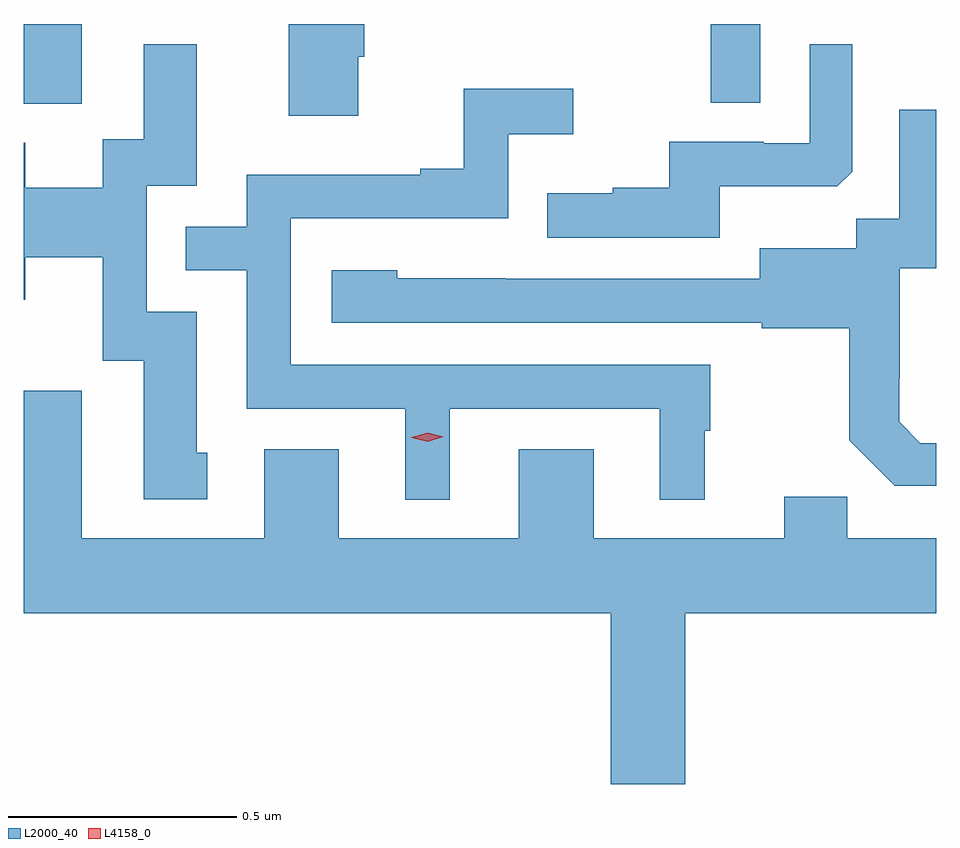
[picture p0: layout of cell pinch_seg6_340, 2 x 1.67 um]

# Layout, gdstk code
import gdstk
lib = gdstk.Library(unit=1e-6, precision=1e-09)
def R(c, l, rs):  # rectangles x0, y0, x1, y1
    for r in rs: c.add(gdstk.rectangle(r[:2], r[2:], *l))
def P(c, l, *ps):  # polygons
    for p in ps: c.add(gdstk.Polygon(p, *l))
L2000_40 = (2000, 40)
L4158_0 = (4158, 0)

pinch_seg6_340 = lib.new_cell('pinch_seg6_340')
R(pinch_seg6_340, L2000_40, [(727.158,979.088,727.285,979.263), (728.664,979.09,728.772,979.263)])
P(pinch_seg6_340, L2000_40, [(727.891,979.191),(727.904,979.191),(727.904,979.263),(727.739,979.263),(727.739,979.062),(727.891,979.062)],
  [(727.561,978.324),(727.537,978.324),(727.537,978.633),(727.428,978.633),(727.428,978.909),(727.537,978.909),(727.537,979.219),(727.421,979.219),(727.421,979.01),(727.331,979.01),(727.331,978.904),(727.162,978.904),(727.162,979.003),(727.158,979.003),(727.158,978.659),(727.162,978.659),(727.162,978.752),(727.332,978.752),(727.332,978.525),(727.421,978.525),(727.421,978.222),(727.561,978.222)],
  [(728.683,978.908),(728.941,978.908),(728.973,978.939),(728.973,979.219),(728.88,979.219),(728.88,979.002),(728.78,979.002),(728.78,979.005),(728.573,979.005),(728.573,978.904),(728.449,978.904),(728.449,978.892),(728.305,978.892),(728.305,978.795),(728.683,978.795)],
  [(728.092,978.42),(728.552,978.42),(728.552,978.221),(728.65,978.221),(728.65,978.372),(728.662,978.372),(728.662,978.516),(727.743,978.516),(727.743,978.837),(728.22,978.837),(728.22,979.022),(728.362,979.022),(728.362,979.121),(728.122,979.121),(728.122,978.946),(728.027,978.946),(728.027,978.933),(727.647,978.933),(727.647,978.819),(727.513,978.819),(727.513,978.723),(727.647,978.723),(727.647,978.42),(727.994,978.42),(727.994,978.221),(728.092,978.221)],
  [(729.158,978.345),(729.123,978.345),(729.076,978.392),(729.076,978.487),(729.078,978.487),(729.078,978.728),(729.158,978.728),(729.158,979.075),(729.077,979.075),(729.077,978.836),(728.982,978.836),(728.982,978.772),(728.771,978.772),(728.771,978.705),(728.213,978.705),(728.213,978.706),(727.977,978.706),(727.977,978.724),(727.833,978.724),(727.833,978.609),(728.775,978.609),(728.775,978.597),(728.967,978.597),(728.967,978.351),(729.067,978.251),(729.158,978.251)],
  [(727.685,978.331),(727.685,978.136),(727.285,978.136),(727.285,978.46),(727.158,978.46),(727.158,977.972),(728.444,977.972),(728.444,977.598),(728.608,977.598),(728.608,977.972),(729.158,977.972),(729.158,978.136),(728.963,978.136),(728.963,978.227),(728.825,978.227),(728.825,978.136),(728.407,978.136),(728.407,978.331),(728.243,978.331),(728.243,978.136),(727.849,978.136),(727.849,978.331)])
P(pinch_seg6_340, L4158_0, [(728.043,978.348),(728.008,978.357),(728.007,978.357),(728.008,978.358),(728.043,978.368),(728.078,978.359),(728.079,978.359),(728.078,978.359)])

lib.write_gds('pinch_seg6_340.gds')
